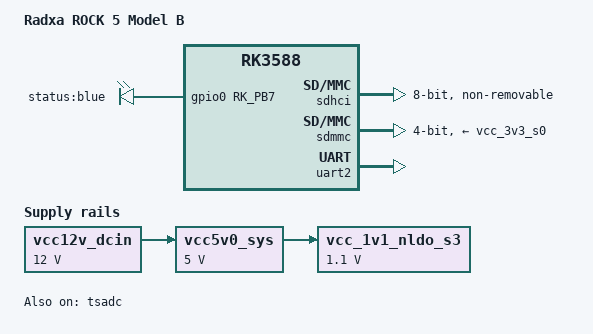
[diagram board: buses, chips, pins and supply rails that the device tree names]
// SPDX-License-Identifier: (GPL-2.0+ OR MIT)

/dts-v1/;

#include <dt-bindings/gpio/gpio.h>
#include <dt-bindings/leds/common.h>
#include <dt-bindings/pinctrl/rockchip.h>
#include "rk3588.dtsi"
#include "rk3588-rk806-single.dtsi"

/ {
	model = "Radxa ROCK 5 Model B";
	compatible = "radxa,rock-5b", "rockchip,rk3588";

	aliases {
		mmc0 = &sdhci;
		mmc1 = &sdmmc;
		serial2 = &uart2;

		led-boot = &blue_led;
		led-failsafe = &blue_led;
		led-running = &blue_led;
		led-upgrade = &blue_led;
	};

	chosen {
		stdout-path = "serial2:1500000n8";
	};

	gpio-leds {
		compatible = "gpio-leds";
		pinctrl-names = "default";
		pinctrl-0 = <&status_led_pin>;

		blue_led: led-blue {
			gpios = <&gpio0 RK_PB7 GPIO_ACTIVE_HIGH>;
			label = "status:blue";
		};
	};

	vcc12v_dcin: vcc12v-dcin {
		compatible = "regulator-fixed";
		regulator-name = "vcc12v_dcin";
		regulator-always-on;
		regulator-boot-on;
		regulator-min-microvolt = <12000000>;
		regulator-max-microvolt = <12000000>;
	};

	vcc5v0_sys: vcc5v0-sys-regulator {
		compatible = "regulator-fixed";
		regulator-name = "vcc5v0_sys";
		regulator-always-on;
		regulator-boot-on;
		regulator-min-microvolt = <5000000>;
		regulator-max-microvolt = <5000000>;
		vin-supply = <&vcc12v_dcin>;
	};

	vcc_1v1_nldo_s3: vcc-1v1-nldo-s3 {
		compatible = "regulator-fixed";
		regulator-name = "vcc_1v1_nldo_s3";
		regulator-always-on;
		regulator-boot-on;
		regulator-min-microvolt = <1100000>;
		regulator-max-microvolt = <1100000>;
		vin-supply = <&vcc5v0_sys>;
	};
};

&pinctrl {
	gpio-leds {
		status_led_pin: led-status-pin {
			rockchip,pins = <0 RK_PB7 RK_FUNC_GPIO &pcfg_pull_none>;
		};
	};
};

&sdhci {
	bus-width = <8>;
	no-sdio;
	no-sd;
	non-removable;
	max-frequency = <200000000>;
	mmc-hs400-1_8v;
	mmc-hs400-enhanced-strobe;
	status = "okay";
};

&sdmmc {
	max-frequency = <150000000>;
	no-sdio;
	no-mmc;
	bus-width = <4>;
	cap-mmc-highspeed;
	cap-sd-highspeed;
	disable-wp;
	sd-uhs-sdr104;
	vmmc-supply = <&vcc_3v3_s0>;
	vqmmc-supply = <&vccio_sd_s0>;
	pinctrl-names = "default";
	pinctrl-0 = <&sdmmc_bus4 &sdmmc_clk &sdmmc_cmd &sdmmc_det>;
	status = "okay";
};

&tsadc {
	status = "okay";
};

&uart2 {
	pinctrl-0 = <&uart2m0_xfer>;
	status = "okay";
};
